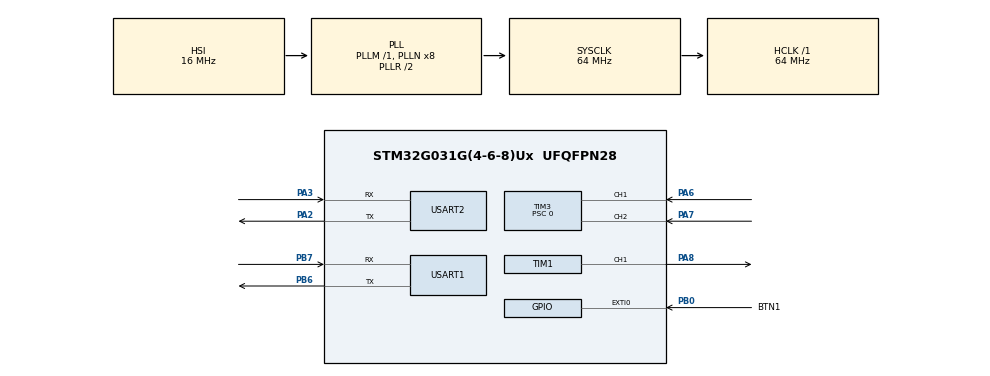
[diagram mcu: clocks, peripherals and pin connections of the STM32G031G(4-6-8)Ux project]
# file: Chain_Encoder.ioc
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Dma.Request0=USART1_RX
Dma.Request1=USART1_TX
Dma.Request2=USART2_RX
Dma.Request3=USART2_TX
Dma.Request4=TIM1_CH1
Dma.TIM1_CH1.4.Direction=DMA_MEMORY_TO_PERIPH
Dma.TIM1_CH1.4.EventEnable=DISABLE
Dma.TIM1_CH1.4.Instance=DMA1_Channel5
Dma.TIM1_CH1.4.MemDataAlignment=DMA_MDATAALIGN_BYTE
Dma.TIM1_CH1.4.MemInc=DMA_MINC_ENABLE
Dma.TIM1_CH1.4.Mode=DMA_NORMAL
Dma.TIM1_CH1.4.PeriphDataAlignment=DMA_PDATAALIGN_HALFWORD
Dma.TIM1_CH1.4.PeriphInc=DMA_PINC_DISABLE
Dma.TIM1_CH1.4.Polarity=HAL_DMAMUX_REQ_GEN_RISING
Dma.TIM1_CH1.4.Priority=DMA_PRIORITY_LOW
Dma.TIM1_CH1.4.RequestNumber=1
Dma.TIM1_CH1.4.SignalID=NONE
Dma.TIM1_CH1.4.SyncEnable=DISABLE
Dma.TIM1_CH1.4.SyncPolarity=HAL_DMAMUX_SYNC_NO_EVENT
Dma.TIM1_CH1.4.SyncRequestNumber=1
Dma.TIM1_CH1.4.SyncSignalID=NONE
Dma.USART1_RX.0.Direction=DMA_PERIPH_TO_MEMORY
Dma.USART1_RX.0.EventEnable=DISABLE
Dma.USART1_RX.0.Instance=DMA1_Channel1
Dma.USART1_RX.0.MemDataAlignment=DMA_MDATAALIGN_BYTE
Dma.USART1_RX.0.MemInc=DMA_MINC_ENABLE
Dma.USART1_RX.0.Mode=DMA_NORMAL
Dma.USART1_RX.0.PeriphDataAlignment=DMA_PDATAALIGN_BYTE
Dma.USART1_RX.0.PeriphInc=DMA_PINC_DISABLE
Dma.USART1_RX.0.Polarity=HAL_DMAMUX_REQ_GEN_RISING
Dma.USART1_RX.0.Priority=DMA_PRIORITY_LOW
Dma.USART1_RX.0.RequestNumber=1
Dma.USART1_RX.0.SignalID=NONE
Dma.USART1_RX.0.SyncEnable=DISABLE
Dma.USART1_RX.0.SyncPolarity=HAL_DMAMUX_SYNC_NO_EVENT
Dma.USART1_RX.0.SyncRequestNumber=1
Dma.USART1_RX.0.SyncSignalID=NONE
Dma.USART1_TX.1.Direction=DMA_MEMORY_TO_PERIPH
Dma.USART1_TX.1.EventEnable=DISABLE
Dma.USART1_TX.1.Instance=DMA1_Channel2
Dma.USART1_TX.1.MemDataAlignment=DMA_MDATAALIGN_BYTE
Dma.USART1_TX.1.MemInc=DMA_MINC_ENABLE
Dma.USART1_TX.1.Mode=DMA_NORMAL
Dma.USART1_TX.1.PeriphDataAlignment=DMA_PDATAALIGN_BYTE
Dma.USART1_TX.1.PeriphInc=DMA_PINC_DISABLE
Dma.USART1_TX.1.Polarity=HAL_DMAMUX_REQ_GEN_RISING
Dma.USART1_TX.1.Priority=DMA_PRIORITY_LOW
Dma.USART1_TX.1.RequestNumber=1
Dma.USART1_TX.1.SignalID=NONE
Dma.USART1_TX.1.SyncEnable=DISABLE
Dma.USART1_TX.1.SyncPolarity=HAL_DMAMUX_SYNC_NO_EVENT
Dma.USART1_TX.1.SyncRequestNumber=1
Dma.USART1_TX.1.SyncSignalID=NONE
Dma.USART2_RX.2.Direction=DMA_PERIPH_TO_MEMORY
Dma.USART2_RX.2.EventEnable=DISABLE
Dma.USART2_RX.2.Instance=DMA1_Channel3
Dma.USART2_RX.2.MemDataAlignment=DMA_MDATAALIGN_BYTE
Dma.USART2_RX.2.MemInc=DMA_MINC_ENABLE
Dma.USART2_RX.2.Mode=DMA_NORMAL
Dma.USART2_RX.2.PeriphDataAlignment=DMA_PDATAALIGN_BYTE
Dma.USART2_RX.2.PeriphInc=DMA_PINC_DISABLE
Dma.USART2_RX.2.Polarity=HAL_DMAMUX_REQ_GEN_RISING
Dma.USART2_RX.2.Priority=DMA_PRIORITY_LOW
Dma.USART2_RX.2.RequestNumber=1
Dma.USART2_RX.2.SignalID=NONE
Dma.USART2_RX.2.SyncEnable=DISABLE
Dma.USART2_RX.2.SyncPolarity=HAL_DMAMUX_SYNC_NO_EVENT
Dma.USART2_RX.2.SyncRequestNumber=1
Dma.USART2_RX.2.SyncSignalID=NONE
Dma.USART2_TX.3.Direction=DMA_MEMORY_TO_PERIPH
Dma.USART2_TX.3.EventEnable=DISABLE
Dma.USART2_TX.3.Instance=DMA1_Channel4
Dma.USART2_TX.3.MemDataAlignment=DMA_MDATAALIGN_BYTE
Dma.USART2_TX.3.MemInc=DMA_MINC_ENABLE
Dma.USART2_TX.3.Mode=DMA_NORMAL
Dma.USART2_TX.3.PeriphDataAlignment=DMA_PDATAALIGN_BYTE
Dma.USART2_TX.3.PeriphInc=DMA_PINC_DISABLE
Dma.USART2_TX.3.Polarity=HAL_DMAMUX_REQ_GEN_RISING
Dma.USART2_TX.3.Priority=DMA_PRIORITY_LOW
Dma.USART2_TX.3.RequestNumber=1
Dma.USART2_TX.3.SignalID=NONE
Dma.USART2_TX.3.SyncEnable=DISABLE
Dma.USART2_TX.3.SyncPolarity=HAL_DMAMUX_SYNC_NO_EVENT
Dma.USART2_TX.3.SyncRequestNumber=1
Dma.USART2_TX.3.SyncSignalID=NONE
IWDG.Prescaler=IWDG_PRESCALER_16
Mcu.Family=STM32G0
Mcu.Name=STM32G031G(4-6-8)Ux
Mcu.Package=UFQFPN28
NVIC.DMA1_Ch4_5_DMAMUX1_OVR_IRQn=true\:1\:0\:true\:false\:true\:false\:true\:true
NVIC.DMA1_Channel1_IRQn=true\:1\:0\:true\:false\:true\:false\:true\:true
NVIC.DMA1_Channel2_3_IRQn=true\:1\:0\:true\:false\:true\:false\:true\:true
NVIC.EXTI0_1_IRQn=true\:1\:0\:true\:false\:true\:true\:true\:true
NVIC.FLASH_IRQn=true\:1\:0\:true\:false\:true\:true\:true\:true
NVIC.TIM14_IRQn=true\:1\:0\:true\:false\:true\:true\:true\:true
NVIC.TIM16_IRQn=true\:1\:0\:true\:false\:true\:true\:true\:true
NVIC.TIM17_IRQn=true\:1\:0\:true\:false\:true\:true\:true\:true
NVIC.USART1_IRQn=true\:0\:0\:false\:false\:true\:false\:true\:true
NVIC.USART2_IRQn=true\:0\:0\:false\:false\:true\:false\:true\:true
PA2.GPIO_PuPd=GPIO_PULLUP
PA2.GPIO_Speed=GPIO_SPEED_FREQ_HIGH
PA2.Mode=Asynchronous
PA2.PinState=GPIO_PIN_RESET
PA2.Signal=USART2_TX
PA3.GPIO_PuPd=GPIO_PULLUP
PA3.GPIO_Speed=GPIO_SPEED_FREQ_HIGH
PA3.Mode=Asynchronous
PA3.PinState=GPIO_PIN_RESET
PA3.Signal=USART2_RX
PA6.Signal=S_TIM3_CH1
PA7.Signal=S_TIM3_CH2
PA8.Signal=S_TIM1_CH1
PB0.GPIO_Label=BTN1
PB0.GPIO_ModeDefaultEXTI=GPIO_MODE_IT_FALLING
PB0.GPIO_PuPd=GPIO_PULLUP
PB0.Signal=GPXTI0
PB6.GPIO_PuPd=GPIO_PULLUP
PB6.GPIO_Speed=GPIO_SPEED_FREQ_HIGH
PB6.Mode=Asynchronous
PB6.Signal=USART1_TX
PB7.GPIO_PuPd=GPIO_PULLUP
PB7.GPIO_Speed=GPIO_SPEED_FREQ_HIGH
PB7.Mode=Asynchronous
PB7.Signal=USART1_RX
ProjectManager.HeapSize=0x200
ProjectManager.StackSize=0x400
ProjectManager.TargetToolchain=STM32CubeIDE
RCC.ADCFreq_Value=64000000
RCC.AHBFreq_Value=64000000
RCC.CortexFreq_Value=64000000
RCC.EXTERNAL_CLOCK_VALUE=12288000
RCC.HCLKFreq_Value=64000000
RCC.HSE_VALUE=8000000
RCC.HSI_VALUE=16000000
RCC.LSE_VALUE=32768
RCC.PLLQ=RCC_PLLQ_DIV4
RCC.SYSCLKFreq_VALUE=64000000
RCC.SYSCLKSource=RCC_SYSCLKSOURCE_PLLCLK
RCC.VCOOutputFreq_Value=128000000
SH.S_TIM1_CH1.0=TIM1_CH1,PWM Generation1 CH1
SH.S_TIM3_CH1.0=TIM3_CH1,Encoder_Interface
SH.S_TIM3_CH2.0=TIM3_CH2,Encoder_Interface
TIM1.Channel-PWM\ Generation1\ CH1=TIM_CHANNEL_1
TIM1.Period=79
TIM14.AutoReloadPreload=TIM_AUTORELOAD_PRELOAD_ENABLE
TIM14.Period=1699
TIM14.Prescaler=6399
TIM16.Period=29999
TIM16.Prescaler=6399
TIM17.Period=9999
TIM17.Prescaler=6399
TIM3.IC1Filter=15
TIM3.IC1Polarity=TIM_ICPOLARITY_RISING
TIM3.IC2Filter=15
TIM3.IC2Polarity=TIM_ICPOLARITY_RISING
TIM3.Prescaler=0
USART1.VirtualMode-Asynchronous=VM_ASYNC
USART2.VirtualMode-Asynchronous=VM_ASYNC
VP_IWDG_VS_IWDG.Mode=IWDG_Activate
VP_TIM14_VS_ClockSourceINT.Mode=Enable_Timer
VP_TIM16_VS_ClockSourceINT.Mode=Enable_Timer
VP_TIM17_VS_ClockSourceINT.Mode=Enable_Timer
VP_TIM1_VS_ClockSourceINT.Mode=Internal
board=custom

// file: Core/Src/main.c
///* USER CODE BEGIN Header */
/**
 ******************************************************************************
 * @file           : main.c
 * @brief          : Main program body
 ******************************************************************************
 * @attention
 *
 * Copyright (c) 2024 STMicroelectronics.
 * All rights reserved.
 *
 * This software is licensed under terms that can be found in the LICENSE file
 * in the root directory of this software component.
 * If no LICENSE file comes with this software, it is provided AS-IS.
 *
 ******************************************************************************
 */
/* USER CODE END Header */
#include "main.h"
#include "dma.h"
#include "iwdg.h"
#include "tim.h"
#include "usart.h"
#include "gpio.h"

/* USER CODE BEGIN Includes */
#include "base_function.h"
#include "RGB.h"
#include "encoder_function.h"
#include "myflash.h"
/* USER CODE END Includes */

/* USER CODE BEGIN PD */
__IO int16_t g_encoder_count = 0;   // Encoder total count
__IO int16_t g_increment_count = 0; // Encoder increment count
__IO uint8_t g_encoder_direct = 0;  // Encoder direction: 0->AB, 1->BA
/* USER CODE END PD */

/* USER CODE BEGIN PV */
// DMA receive buffers
__IO uint8_t g_uart_in_rx_buf[UART_BUFFER_SIZE][BUFFER_SIZE * 2];  // uart_in
                                                                   // receive
                                                                   // buffer for
                                                                   // DMA
__IO uint8_t g_uart_out_rx_buf[UART_BUFFER_SIZE][BUFFER_SIZE * 2]; // uart_out
                                                                   // receive
                                                                   // buffer for
                                                                   // DMA

// Transmission status for UART
__IO uint8_t g_uart_in_rx_index =
    0; // Index for UART input (receiving) buffer position
__IO uint8_t g_uart_out_rx_index =
    0; // Index for UART output (receiving) buffer position

// Transmission complete flags for UART
__IO uint8_t g_uart_in_transmit_complete =
    1; // Flag indicating if uart_in transmission is complete (1: complete)
__IO uint8_t g_uart_out_transmit_complete =
    1; // Flag indicating if uart_out transmission is complete (1: complete)

// Command buffer and related variables
__IO uint8_t g_cmd_buf[BUFFER_SIZE] = {0}; // Command buffer initialized to zero
__IO uint8_t g_cmd_size = 0; // Size of the command currently in the buffer
__IO uint8_t g_cmd_status =
    CMD_SPACE_IDLE_STATUS; // Status of the command processing

// Device status variables
__IO uint8_t g_tail_status =
    CHAIN_TAIL_DEVICE; // Status of the tail device in the chain
__IO uint8_t g_heart_beat_record =
    0; // Heartbeat record for monitoring device status
__IO uint8_t g_bootloader_version = 0;              // Version of the bootloader
__IO uint8_t g_firmware_version = SOFTWARE_VERSION; // Version of the firmware

// Device type information
__IO uint16_t g_device_type = (uint8_t)(
    (PRODUCT_TYPE_HIGH << 8) |
    PRODUCT_TYPE_LOW);    // Combined product type from high and low bytes
__IO uint8_t g_light = 0; // Light status or value

__IO static uint32_t s_last_press_time =
    0; // Store the last press time in milliseconds

__IO static uint8_t s_key_flag = 0;

/* USER CODE END PV */

void SystemClock_Config(void);

/* USER CODE BEGIN 0 */
/**
 * @brief Set the Interrupt Vector Table for the application in SRAM.
 * @param None
 * @retval None
 */
void iap_set(void) {
  uint8_t i; // Loop index
  uint32_t *pVecTab =
      (uint32_t *)(0x20000000); // Pointer to the vector table in SRAM

  // Copy the interrupt vector table from the application address to SRAM
  for (i = 0; i < 48; i++) {
    // Copy each vector entry to the SRAM vector table
    *(pVecTab++) = *(__IO uint32_t *)(APPLICATION_ADDRESS + (i << 2));
  }

  // Enable the SYSCFG peripheral clock
  __HAL_RCC_SYSCFG_CLK_ENABLE();

  // Remap the memory to use SRAM for the vector table
  __HAL_SYSCFG_REMAPMEMORY_SRAM();
}

/**
 * @brief Initialize the chain device settings.
 * @param None
 * @retval None
 */
void chain_init(void) {
  // Get the bootloader version and store it in a global variable
  g_bootloader_version = get_bootloader_version();

  // Check the current AB status; if it is uninitialized (0xFF)
  if (get_ab_status() == 0xFF) {
    // Set the encoder direction to the default value (ENCODER_AB) and save it
    // to the global variable
    g_encoder_direct = ENCODER_AB;
    set_ab_status(g_encoder_direct); // Write the new status to flash memory
  } else {
    // If the AB status is initialized, read the current AB status from flash
    // memory
    g_encoder_direct = get_ab_status();
  }

  // Check the current RGB light status; if it is uninitialized (0xFF)
  if (get_rgb_light() == 0xFF) {
    // Set the RGB light to the default value (RGB_LIGHT_BASE) and save it to
    // the global variable
    g_light = RGB_LIGHT_BASE;
    set_rgb_light(g_light); // Write the new light status to flash memory
  } else {
    // If the RGB light status is initialized, read the current light status
    // from flash memory
    g_light = get_rgb_light();
  }
}

/* USER CODE END 0 */

int main(void) {

  /* USER CODE BEGIN 1 */
  iap_set();
  chain_init();
  /* USER CODE END 1 */

  /* MCU Configuration--------------------------------------------------------*/

  /* Reset of all peripherals, Initializes the Flash interface and the Systick.
   */
  HAL_Init();

  /* Configure the system clock */
  SystemClock_Config();

  /* Initialize all configured peripherals */
  MX_GPIO_Init();
  MX_DMA_Init();
  MX_USART1_UART_Init();
  MX_USART2_UART_Init();
  MX_IWDG_Init();
  MX_TIM14_Init();
  MX_TIM1_Init();
  MX_TIM16_Init();
  MX_TIM3_Init();
  MX_TIM17_Init();
  /* USER CODE BEGIN 2 */
  rgb_init();
  encoder_init(); // encoder init
  HAL_Delay(1);
  LL_TIM_ClearFlag_UPDATE(TIM14); // Clear update TIM14
  LL_TIM_EnableIT_UPDATE(TIM14);  // ENABLE TIM14
  LL_TIM_EnableCounter(TIM14);    // ENABLE TIM14
  HAL_Delay(1);
  LL_TIM_ClearFlag_UPDATE(TIM17); // Clear update TIM17
  LL_TIM_EnableIT_UPDATE(TIM17);  // ENABLE TIM17
  LL_TIM_EnableCounter(TIM17);    // ENABLE TIM17
  HAL_Delay(1);
  LL_TIM_ClearFlag_UPDATE(TIM16); // Clear update TIM16
  LL_TIM_EnableIT_UPDATE(TIM16);  // ENABLE TIM16
  LL_TIM_EnableCounter(TIM16);    // ENABLE TIM16
  HAL_Delay(1);
  /* USER CODE END 2 */

  /* Infinite loop */
  /* USER CODE BEGIN WHILE */

  while (1) {
    encoder_update();
    if (g_cmd_status == CMD_SPACE_BUSY_STATUS) {
      switch (g_cmd_buf[0]) {
      case CHAIN_ENCODER_GET_VALUE:
        chain_encoder_get_value_handle();
        break;
      case CHAIN_ENCODER_GET_INC_VALUE:
        chain_encoder_get_inc_value_handle();
        g_increment_count = 0;
        break;
      case CHAIN_ENCODER_RESET_VALUE:
        chain_encoder_reset_value_handle();
        break;
      case CHAIN_ENCODER_RESET_INC_VALUE:
        chain_encoder_reset_inc_value_handle();
        break;
      case CHAIN_ENCODER_SET_AB_STATUS:
        chain_encoder_set_ab_status_handle(g_cmd_buf[1]);
        break;
      case CHAIN_ENCODER_GET_AB_STATUS:
        chain_encoder_get_ab_status_handle();
        break;
      case CHAIN_SET_RGB_VALUE:
        chain_set_rgb_value((uint8_t *)(g_cmd_buf + 1), (g_cmd_size - 1));
        break;
      case CHAIN_GET_RGB_VALUE:
        chain_get_rgb_value();
        break;
      case CHAIN_SET_RGB_LIGHT:
        chain_set_light_value(g_cmd_buf[1]);
        break;
      case CHAIN_GET_RGB_LIGHT:
        chain_get_light_value();
        break;
      case CHAIN_GET_BOOTLOADER_VERSION:
        chain_get_bootloader_version_handle();
        break;
      case CHAIN_GET_VERSION_DEVICE:
        chain_get_firmware_version_handle();
        break;
      case CHAIN_GET_DEVICE_TYPE:
        chain_get_device_type_handle();
        break;
      case CHAIN_IAP_UPDATE:
        chain_iap_update_handle(g_cmd_buf[1]);
        break;
      default:
        break;
      }
      g_cmd_status = CMD_SPACE_IDLE_STATUS;
    }
    /* USER CODE END WHILE */

    /* USER CODE BEGIN 3 */
    if(s_key_flag && g_uart_in_transmit_complete){
    	key_press_down_send();
    	s_key_flag = 0;
    }
    LL_IWDG_ReloadCounter(IWDG);
  }

  /* USER CODE END 3 */
}

void SystemClock_Config(void) {
  RCC_OscInitTypeDef RCC_OscInitStruct = {0};
  RCC_ClkInitTypeDef RCC_ClkInitStruct = {0};

  /** Configure the main internal regulator output voltage
   */
  HAL_PWREx_ControlVoltageScaling(PWR_REGULATOR_VOLTAGE_SCALE1);

  /** Initializes the RCC Oscillators according to the specified parameters
   * in the RCC_OscInitTypeDef structure.
   */
  RCC_OscInitStruct.OscillatorType =
      RCC_OSCILLATORTYPE_HSI | RCC_OSCILLATORTYPE_LSI;
  RCC_OscInitStruct.HSIState = RCC_HSI_ON;
  RCC_OscInitStruct.HSIDiv = RCC_HSI_DIV1;
  RCC_OscInitStruct.HSICalibrationValue = RCC_HSICALIBRATION_DEFAULT;
  RCC_OscInitStruct.LSIState = RCC_LSI_ON;
  RCC_OscInitStruct.PLL.PLLState = RCC_PLL_ON;
  RCC_OscInitStruct.PLL.PLLSource = RCC_PLLSOURCE_HSI;
  RCC_OscInitStruct.PLL.PLLM = RCC_PLLM_DIV1;
  RCC_OscInitStruct.PLL.PLLN = 8;
  RCC_OscInitStruct.PLL.PLLP = RCC_PLLP_DIV2;
  RCC_OscInitStruct.PLL.PLLQ = RCC_PLLQ_DIV4;
  RCC_OscInitStruct.PLL.PLLR = RCC_PLLR_DIV2;
  if (HAL_RCC_OscConfig(&RCC_OscInitStruct) != HAL_OK) {
    Error_Handler();
  }

  /** Initializes the CPU, AHB and APB buses clocks
   */
  RCC_ClkInitStruct.ClockType =
      RCC_CLOCKTYPE_HCLK | RCC_CLOCKTYPE_SYSCLK | RCC_CLOCKTYPE_PCLK1;
  RCC_ClkInitStruct.SYSCLKSource = RCC_SYSCLKSOURCE_PLLCLK;
  RCC_ClkInitStruct.AHBCLKDivider = RCC_SYSCLK_DIV1;
  RCC_ClkInitStruct.APB1CLKDivider = RCC_HCLK_DIV1;

  if (HAL_RCC_ClockConfig(&RCC_ClkInitStruct, FLASH_LATENCY_2) != HAL_OK) {
    Error_Handler();
  }
}

/* USER CODE BEGIN 4 */
/**
 * @brief GPIO EXTI falling edge interrupt callback (Button Press).
 * @note This function is triggered by the falling edge of the button press.
 *       It incorporates debouncing logic to only trigger the event once every
 * 200ms.
 * @param GPIO_Pin GPIO pin that triggered the interrupt.
 * @retval None
 */
void HAL_GPIO_EXTI_Falling_Callback(uint16_t GPIO_Pin) {
  if (GPIO_Pin == BTN1_Pin) {
    uint32_t current_time =
        HAL_GetTick(); // Get current system tick in milliseconds

    // Check if debounce time has passed (current time - last press time >=
    // debounce time)
    if (current_time - s_last_press_time >= DEBOUNCE_TIME_MS) {
      s_key_flag = 1;
      // Update the last press time
      s_last_press_time = current_time;
    }
  }
}
/* USER CODE END 4 */

void Error_Handler(void) {
  __disable_irq();
  while (1) {
  }
}

#ifdef USE_FULL_ASSERT
/**
 * @brief  Reports the name of the source file and the source line number
 *         where the assert_param error has occurred.
 * @param  file: pointer to the source file name
 * @param  line: assert_param error line source number
 * @retval None
 */
void assert_failed(uint8_t *file, uint32_t line) {
  /* USER CODE BEGIN 6 */
  /* User can add his own implementation to report the file name and line
     number,
     ex: printf("Wrong parameters value: file %s on line %d\r\n", file, line) */
  /* USER CODE END 6 */
}
#endif /* USE_FULL_ASSERT */
